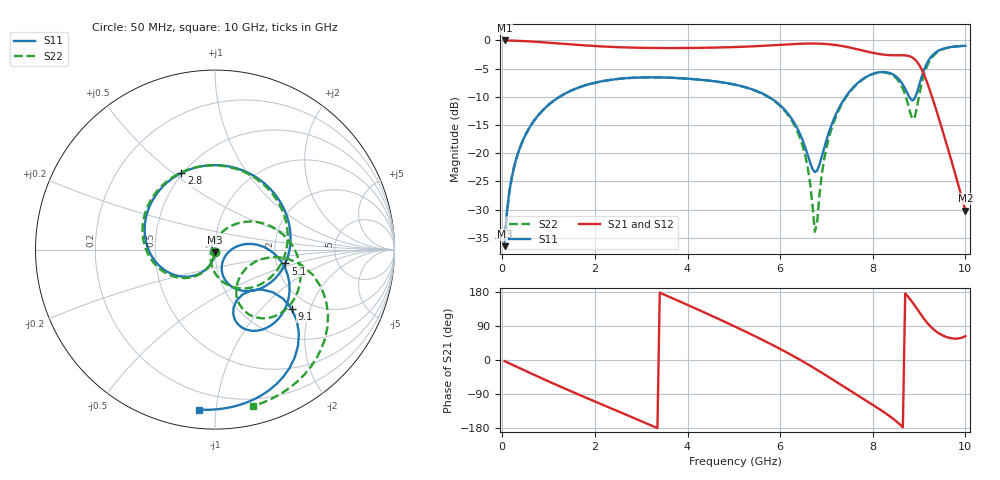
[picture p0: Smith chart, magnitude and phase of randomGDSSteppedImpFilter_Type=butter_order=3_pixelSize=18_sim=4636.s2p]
! freq	dB(S11)	phase(S11)	dB(S12)	phase(S12)
!  dB(S21)	phase(S21)	dB(S22)	phase(S22)
!S-par simulation data
#  GHz  S  DB  R 50
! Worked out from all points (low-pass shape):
!   200 points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, 50 MHz to 10 GHz, reference 50 ohm
!   highest |S21| = 0.00 dB at 50 MHz (marker M1); lowest = -30.2 dB at 10 GHz (marker M2)
!   |S21| within 3 dB of the highest: start of sweep to 8.85 GHz
!   lowest |S11| = -36.5 dB at 50 MHz (marker M3), VSWR 1.03, Z = 49.9 - j1.49 ohm
!   |S11| at or under -10 dB: start of sweep to 1.236 GHz; 5.751 GHz to 7.415 GHz (1.664 GHz wide, 25.3 % of centre); 8.787 GHz to 8.919 GHz (131.3 MHz wide, 1.48 % of centre)
!   |S22| runs from -36.5 to -0.9 dB; largest |S21 - S12| = 0
!   S11 on the Smith chart (normalised r, x): 50 MHz: 1.00, -0.03; 2.8 GHz: 0.49, +0.54; 5.1 GHz: 2.24, -0.41; 9.1 GHz: 1.62, -1.51; 10 GHz: 0.10, -0.90
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0.05  -36.49 -92.8  -0.00 -2.9  -0.00 -2.9  -36.49 -92.7
0.2  -24.50 -102.1  -0.03 -11.6  -0.03 -11.6  -24.49 -101.5
0.5  -16.77 -119.9  -0.13 -28.6  -0.13 -28.6  -16.77 -118.4
1.1  -10.76 -154.3  -0.46 -61.9  -0.46 -61.9  -10.76 -150.9
1.75  -8.07 170.0  -0.86 -96.5  -0.86 -96.5  -8.07 175.6
2.8  -6.63 113.7  -1.27 -150.9  -1.27 -150.9  -6.63 123.3
3.4  -6.56 81.3  -1.35 177.6  -1.35 177.6  -6.56 93.0
4.15  -6.87 40.5  -1.33 137.2  -1.33 137.2  -6.88 53.8
5.05  -7.89 -8.4  -1.17 86.7  -1.17 86.7  -7.90 3.7
5.1  -7.98 -11.1  -1.15 83.8  -1.15 83.8  -8.00 0.7
5.65  -9.55 -40.6  -0.95 51.1  -0.95 51.1  -9.59 -32.7
6.25  -13.90 -69.1  -0.66 12.8  -0.66 12.8  -14.19 -73.8
6.55  -19.17 -70.3  -0.56 -8.0  -0.56 -8.0  -20.73 -101.0
6.7  -22.80 -49.0  -0.54 -18.8  -0.54 -18.8  -29.39 -134.3
6.75  -23.36 -35.1  -0.55 -22.5  -0.55 -22.5  -33.93 -175.7
7.05  -16.36 10.3  -0.67 -45.1  -0.67 -45.1  -17.33 60.8
7.5  -9.06 -6.9  -1.25 -80.0  -1.25 -80.0  -9.19 20.8
8.35  -5.74 -59.9  -2.61 -146.9  -2.61 -146.9  -5.87 -44.4
8.85  -10.64 -58.9  -3.01 153.4  -3.01 153.4  -13.87 -46.7
9.1  -5.37 -37.7  -5.93 109.8  -5.93 109.8  -6.22 -10.0
9.4  -1.90 -61.6  -13.12 72.6  -13.12 72.6  -2.06 -39.0
10  -0.95 -95.8  -30.16 63.1  -30.16 63.1  -0.94 -76.4
